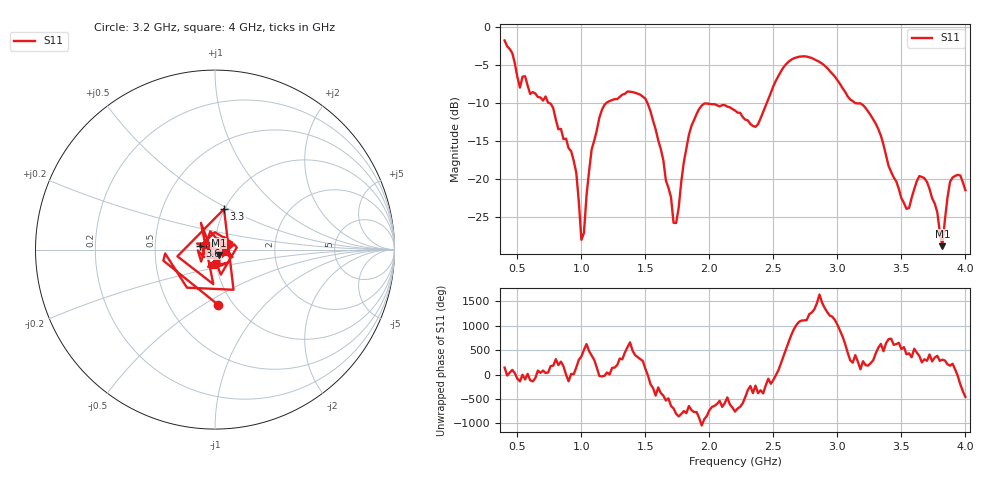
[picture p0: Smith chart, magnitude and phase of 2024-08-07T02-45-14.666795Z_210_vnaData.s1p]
!Created with skrf (http://scikit-rf.org).
# Hz S RI R 50.0
!freq ReS11 ImS11
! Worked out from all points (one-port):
!   181 points, 400 MHz to 4 GHz, reference 50 ohm
!   lowest |S11| = -28.9 dB at 3.82 GHz (marker M1), VSWR 1.07, Z = 52 - j3.06 ohm
!   |S11| at or under -10 dB: 750 MHz to 1.194 GHz (443.7 MHz wide, 45.7 % of centre); 1.516 GHz to 2.447 GHz (930.9 MHz wide, 47 % of centre); 3.143 GHz to end of sweep
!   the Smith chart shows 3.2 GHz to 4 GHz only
!   S11 on the Smith chart (normalised r, x): 3.2 GHz: 0.85, -0.58; 3.3 GHz: 0.99, +0.47; 3.6 GHz: 0.85, +0.03; 4 GHz: 0.97, -0.16
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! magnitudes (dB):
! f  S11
! 400 MHz  -1.7
! 520 MHz  -7.9
! 720 MHz  -9.1
! 860 MHz  -14.7
! 960 MHz  -19.2
! 1 GHz  -28.0
! 1.02 GHz  -27.1
! 1.08 GHz  -16.1
! 1.14 GHz  -11.9
! 1.3 GHz  -9.2
! 1.5 GHz  -9.4
! 1.64 GHz  -17.5
! 1.72 GHz  -25.8
! 1.76 GHz  -23.8
! 1.84 GHz  -14.2
! 1.92 GHz  -10.8
! 2.2 GHz  -11.0
! 2.36 GHz  -13.1
! 2.66 GHz  -4.1
! 3.1 GHz  -9.5
! 3.2 GHz  -10.3
! 3.3 GHz  -12.7
! 3.56 GHz  -23.8
! 3.6 GHz  -21.4
! 3.7 GHz  -20.4
! 3.82 GHz  -28.9
! 3.88 GHz  -20.4
! 4 GHz  -21.5
